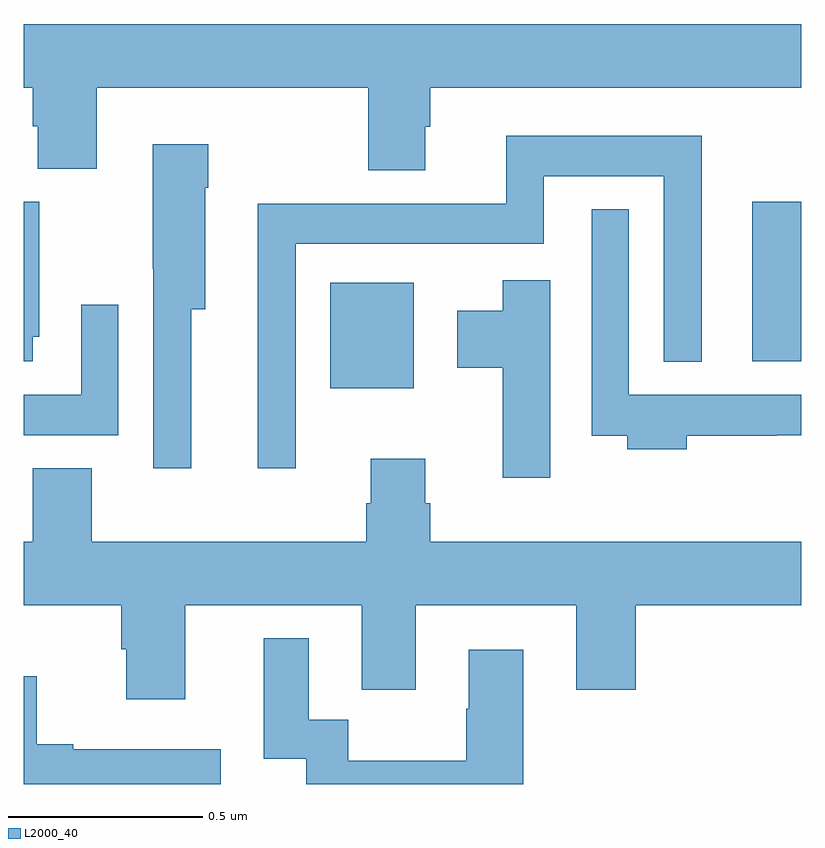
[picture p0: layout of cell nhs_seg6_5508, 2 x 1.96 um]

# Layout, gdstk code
import gdstk
lib = gdstk.Library(unit=1e-6, precision=1e-09)
def R(c, l, rs):  # rectangles x0, y0, x1, y1
    for r in rs: c.add(gdstk.rectangle(r[:2], r[2:], *l))
def P(c, l, *ps):  # polygons
    for p in ps: c.add(gdstk.Polygon(p, *l))
L2000_40 = (2000, 40)

nhs_seg6_5508 = lib.new_cell('nhs_seg6_5508')
R(nhs_seg6_5508, L2000_40, [(183.788,990.518,184.003,990.79), (184.874,990.588,185,990.999)])
P(nhs_seg6_5508, L2000_40, [(184.033,991.191),(184.046,991.191),(184.046,991.292),(185,991.292),(185,991.456),(183,991.456),(183,991.292),(183.023,991.292),(183.023,991.193),(183.035,991.193),(183.035,991.084),(183.188,991.084),(183.188,991.292),(183.886,991.292),(183.886,991.079),(184.033,991.079)],
  [(183.699,990.89),(184.338,990.89),(184.338,991.064),(184.647,991.064),(184.647,990.587),(184.744,990.587),(184.744,991.168),(184.241,991.168),(184.241,990.994),(183.602,990.994),(183.602,990.312),(183.699,990.312)],
  [(183.43,990.722),(183.466,990.722),(183.466,991.034),(183.474,991.034),(183.474,991.147),(183.332,991.147),(183.332,990.826),(183.333,990.826),(183.333,990.312),(183.43,990.312)],
  [(183.022,990.651),(183.04,990.651),(183.04,990.999),(183,990.999),(183,990.588),(183.022,990.588)],
  [(184.706,990.396),(184.937,990.396),(184.937,990.398),(185,990.398),(185,990.502),(184.557,990.502),(184.557,990.979),(184.461,990.979),(184.461,990.396),(184.553,990.396),(184.553,990.362),(184.706,990.362)],
  [(184.354,990.796),(184.232,990.796),(184.232,990.718),(184.115,990.718),(184.115,990.571),(184.232,990.571),(184.232,990.288),(184.354,990.288)],
  [(183.243,990.733),(183.147,990.733),(183.147,990.502),(183,990.502),(183,990.398),(183.243,990.398)],
  [(183.175,990.313),(183.023,990.313),(183.023,990.124),(183,990.124),(183,989.96),(183.251,989.96),(183.251,989.847),(183.263,989.847),(183.263,989.718),(183.415,989.718),(183.415,989.96),(183.869,989.96),(183.869,989.742),(184.009,989.742),(184.009,989.96),(184.421,989.96),(184.421,989.742),(184.574,989.742),(184.574,989.96),(185,989.96),(185,990.124),(184.046,990.124),(184.046,990.222),(184.033,990.222),(184.033,990.337),(183.893,990.337),(183.893,990.222),(183.881,990.222),(183.881,990.124),(183.175,990.124)],
  [(184.285,989.845),(184.145,989.845),(184.145,989.694),(184.138,989.694),(184.138,989.56),(183.835,989.56),(183.835,989.666),(183.733,989.666),(183.733,989.875),(183.617,989.875),(183.617,989.565),(183.726,989.565),(183.726,989.5),(184.285,989.5)],
  [(183.507,989.589),(183.127,989.589),(183.127,989.602),(183.033,989.602),(183.033,989.777),(183,989.777),(183,989.5),(183.507,989.5)])

lib.write_gds('nhs_seg6_5508.gds')
